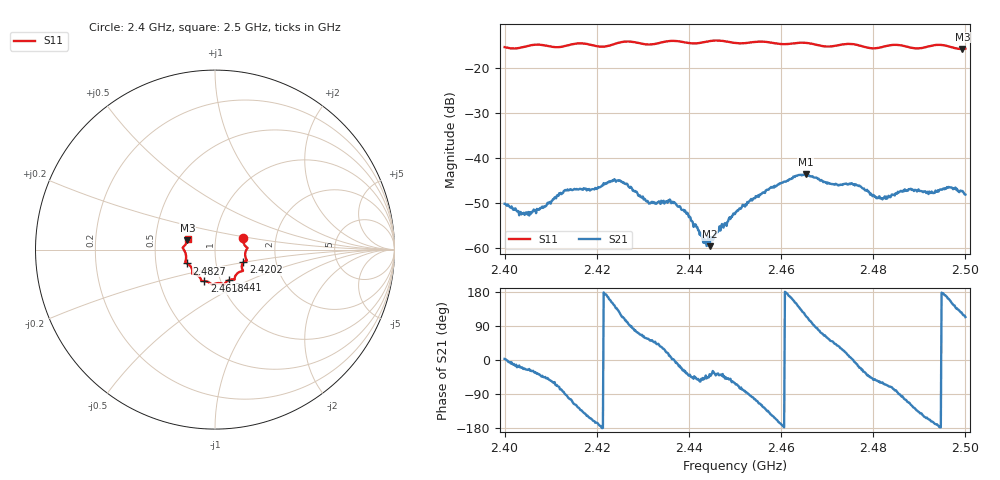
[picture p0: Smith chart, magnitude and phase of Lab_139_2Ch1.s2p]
# Hz S RI R 50
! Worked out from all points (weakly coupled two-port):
!   601 points, 2.4 GHz to 2.5 GHz, reference 50 ohm
!   highest |S21| = -43.61 dB at 2.4653 GHz (marker M1); lowest = -59.6 dB at 2.4445 GHz (marker M2)
!   lowest |S11| = -15.8 dB at 2.4993 GHz (marker M3), VSWR 1.39, Z = 36.5 + j3.84 ohm
!   |S11| at or under -10 dB: start of sweep to end of sweep
!   S12 and S22 are empty: the file has one direction only
!   S11 on the Smith chart (normalised r, x): 2.4 GHz: 1.36, +0.18; 2.4202 GHz: 1.36, -0.20; 2.441 GHz: 1.10, -0.39; 2.4618 GHz: 0.84, -0.30; 2.4827 GHz: 0.72, -0.12; 2.5 GHz: 0.73, +0.09
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2.4e9  0.158 0.0627  0.0031 0.000155  0 0  0 0
2.4055e9  0.1773 0.0126  0.00221 -0.00118  0 0  0 0
2.413333e9  0.1705 -0.0433  -0.000164 -0.00437  0 0  0 0
2.416667e9  0.1774 -0.0606  -0.00305 -0.00331  0 0  0 0
2.420167e9  0.1581 -0.0711  -0.00449 -0.00106  0 0  0 0
2.425e9  0.1544 -0.1134  -0.00315 0.00469  0 0  0 0
2.431167e9  0.125 -0.132  0.00183 0.00271  0 0  0 0
2.433333e9  0.1115 -0.151  0.00237 0.0022  0 0  0 0
2.436833e9  0.1082 -0.1674  0.00323 -4.45e-05  0 0  0 0
2.441e9  0.0786 -0.1697  0.00111 -0.00131  0 0  0 0
2.4435e9  0.058 -0.185  0.000754 -0.000853  0 0  0 0
2.4445e9  0.0537 -0.191  0.000834 -0.000641  0 0  0 0
2.45e9  0.0284 -0.187  0.00115 -0.0021  0 0  0 0
2.461833e9  -0.0595 -0.1752  -0.00573 0.00117  0 0  0 0
2.465333e9  -0.0767 -0.1735  -0.003 0.00588  0 0  0 0
2.466667e9  -0.0783 -0.1682  -0.000911 0.00616  0 0  0 0
2.476667e9  -0.1267 -0.1268  0.00477 -0.00133  0 0  0 0
2.482667e9  -0.1561 -0.0772  0.00152 -0.00319  0 0  0 0
2.483333e9  -0.1605 -0.0754  0.00136 -0.00357  0 0  0 0
2.488167e9  -0.1609 -0.0475  -0.00216 -0.00402  0 0  0 0
2.499333e9  -0.1538 0.0512  -0.00227 0.00366  0 0  0 0
2.5e9  -0.1519 0.0608  -0.00155 0.00361  0 0  0 0
